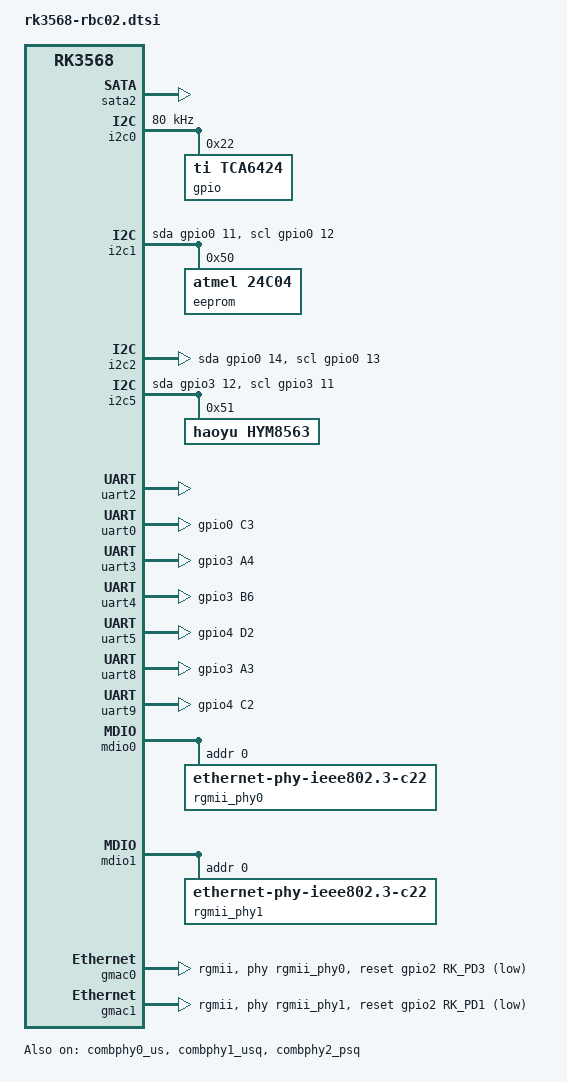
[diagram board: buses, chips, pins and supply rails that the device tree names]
// SPDX-License-Identifier: (GPL-2.0+ OR MIT)
/*
 * Copyright (c) 2020 Rockchip Electronics Co., Ltd.
 *
 */

/dts-v1/;

#include <dt-bindings/gpio/gpio.h>
#include <dt-bindings/pinctrl/rockchip.h>
#include "rk3568.dtsi"
#include "rk3568-evb.dtsi"


/ {
	aliases {
    	/delete-property/ dsi0;
		/delete-property/ dsi1;
		/delete-property/ serial0;
		/delete-property/ serial1;
		/delete-property/ serial2;
		/delete-property/ serial3;
		/delete-property/ serial4;
		/delete-property/ serial5;
		/delete-property/ serial6;
		/delete-property/ serial7;
		/delete-property/ serial8;
		/delete-property/ serial9;
		serial0 = &uart2;
		serial1 = &uart0;
		serial2 = &uart3;
		serial3 = &uart4;
		serial4 = &uart5;
		serial5 = &uart8;
		serial6 = &uart9;
	};
}; 


/delete-node/ &gt1x;
/delete-node/ &mxc6655xa;
/delete-node/ &wireless_wlan;
/delete-node/ &wireless_bluetooth;

/delete-node/ &lvds; 
/delete-node/ &rgb; 
/delete-node/ &hdmi_sound;
/delete-node/ &hdmi; 
/delete-node/ &edp;
/delete-node/ &display_subsystem;
/delete-node/ &vop;
/delete-node/ &dsi0;
/delete-node/ &dsi1;
/delete-node/ &backlight;
/delete-node/ &backlight1;


/delete-node/ &rk809_sound;
/delete-node/ &sdio_pwrseq;

/delete-node/ &hp_det;
/delete-node/ &mxc6655xa_irq_gpio;
/delete-node/ &touch_gpio;
/delete-node/ &wifi_enable_h;
/delete-node/ &uart8_gpios;


&pmu_io_domains {
    pmuio2-supply = <&vcc3v3_pmu>;
    vccio1-supply = <&vccio_acodec>;
    vccio3-supply = <&vccio_sd>;
    vccio4-supply = <&vcc_1v8>;
    vccio5-supply = <&vcc_3v3>;
    vccio6-supply = <&vcc_1v8>;
    vccio7-supply = <&vcc_3v3>;
};

&sata2 {
	status = "okay";
};


&i2c0 {
	status = "okay";
	clock-frequency = <80000>;
	gpio@22 {
		compatible = "ti,tca6424";
		reg = <0x22>;
		gpio-controller;
		#gpio-cells = <2>;
	};
};

&i2c1_xfer {
	rockchip,pins =
		/* i2c1_scl */
		<0 RK_PB3 RK_FUNC_GPIO &pcfg_pull_up_drv_level_15>,
		/* i2c1_sda */
		<0 RK_PB4 RK_FUNC_GPIO &pcfg_pull_up_drv_level_15>;
};
&i2c1 {
	status = "okay";
	compatible = "i2c-gpio";
	sda-gpios = <&gpio0 11 GPIO_ACTIVE_HIGH>;
	scl-gpios = <&gpio0 12 GPIO_ACTIVE_HIGH>;
	pinctrl-names = "default";
	pinctrl-0 = <&i2c1_xfer>;
	i2c-gpio,delay-us = <5>;	/* ~100 kHz */
	#address-cells = <1>;
	#size-cells = <0>;

	eeprom@50 {
		compatible = "atmel,24c04";
		reg = <0x50>;
		pagesize = <16>;
	};
};

&i2c2m0_xfer {
	rockchip,pins =
		/* i2c1_scl */
		<0 RK_PB5 RK_FUNC_GPIO &pcfg_pull_up_drv_level_15>,
		/* i2c1_sda */
		<0 RK_PB6 RK_FUNC_GPIO &pcfg_pull_up_drv_level_15>;
};
&i2c2 {
	status = "okay";
	compatible = "i2c-gpio";
	sda-gpios = <&gpio0 14 GPIO_ACTIVE_HIGH>;
	scl-gpios = <&gpio0 13 GPIO_ACTIVE_HIGH>;
	pinctrl-names = "default";
	pinctrl-0 = <&i2c2m0_xfer>;
	i2c-gpio,delay-us = <5>;	/* ~100 kHz */
	#address-cells = <1>;
	#size-cells = <0>;
};

&i2c5m0_xfer {
	rockchip,pins =
		/* i2c5_scl */
		<3 RK_PB3 RK_FUNC_GPIO &pcfg_pull_up_drv_level_15>,
		/* i2c5_sda */
		<3 RK_PB4 RK_FUNC_GPIO &pcfg_pull_up_drv_level_15>;
};

&i2c5 {
	status = "okay";
	compatible = "i2c-gpio";
	sda-gpios = <&gpio3 12 GPIO_ACTIVE_HIGH>;
	scl-gpios = <&gpio3 11 GPIO_ACTIVE_HIGH>;
	pinctrl-names = "default";
	pinctrl-0 = <&i2c5m0_xfer>;
	i2c-gpio,delay-us = <5>;	/* ~100 kHz */
	#address-cells = <1>;
	#size-cells = <0>;
	hym8563: hym8563@51 {
		compatible = "haoyu,hym8563";
		reg = <0x51>;
	};
};

&uart2 {
	status = "okay";
};

&pinctrl {
	rs485ctrl {
		com1_485_ctrl: com1_485_ctrl {
			rockchip,pins = <0 RK_PC3 RK_FUNC_GPIO &pcfg_pull_up>;
		};
		com2_485_ctrl: com2_485_ctrl {
			rockchip,pins = <3 RK_PA4 RK_FUNC_GPIO &pcfg_pull_up>;
		};
		com3_485_ctrl: com3_485_ctrl {
			rockchip,pins = <3 RK_PB6 RK_FUNC_GPIO &pcfg_pull_up>;
		};
		com4_485_ctrl: com4_485_ctrl {
			rockchip,pins = <4 RK_PD2 RK_FUNC_GPIO &pcfg_pull_up>;
		};
		com5_485_ctrl: com5_485_ctrl {
			rockchip,pins = <3 RK_PA3 RK_FUNC_GPIO &pcfg_pull_up>;
		};
		com6_485_ctrl: com6_485_ctrl {
			rockchip,pins = <4 RK_PC2 RK_FUNC_GPIO &pcfg_pull_up>;
		};
	};
};
&uart0 {
	status = "okay";
	dma-names = "tx","rx";
	pinctrl-0 = <&uart0_xfer &com1_485_ctrl>;
	rs485-term-gpios = <&gpio0 RK_PC3 GPIO_ACTIVE_HIGH>;
	rs485-rts-delay = <1 5>;
	rs485-rx-during-tx;
	linux,rs485-enabled-at-boot-time;
};

&uart3 {
	status = "okay";
	dma-names = "tx","rx";
	pinctrl-0 = <&uart3m1_xfer &com2_485_ctrl>;
	rs485-term-gpios = <&gpio3 RK_PA4 GPIO_ACTIVE_HIGH>;
	rs485-rts-delay = <1 5>;
	rs485-rx-during-tx;
	linux,rs485-enabled-at-boot-time;
};

&uart4 {
	status = "okay";
	dma-names = "tx","rx";
	pinctrl-0 = <&uart4m1_xfer &com3_485_ctrl>;
	rs485-term-gpios = <&gpio3 RK_PB6 GPIO_ACTIVE_HIGH>;
	rs485-rts-delay = <1 5>;
	rs485-rx-during-tx;
	linux,rs485-enabled-at-boot-time;
};

&uart5 {
	status = "okay";
	dma-names = "tx","rx";
	pinctrl-0 = <&uart5m1_xfer &com4_485_ctrl>;
	rs485-term-gpios = <&gpio4 RK_PD2 GPIO_ACTIVE_HIGH>;
	rs485-rts-delay = <1 5>;
	rs485-rx-during-tx;
	linux,rs485-enabled-at-boot-time;
};

&uart8 {
	status = "okay";
	dma-names = "tx","rx";
	pinctrl-0 = <&uart8m1_xfer &com5_485_ctrl>;
	rs485-term-gpios = <&gpio3 RK_PA3 GPIO_ACTIVE_HIGH>;
	rs485-rts-delay = <1 5>;
	rs485-rx-during-tx;
	linux,rs485-enabled-at-boot-time;
};

&uart9 {
	status = "okay";
	dma-names = "tx","rx";
	pinctrl-0 = <&uart9m1_xfer &com6_485_ctrl>;
	rs485-term-gpios = <&gpio4 RK_PC2 GPIO_ACTIVE_HIGH>;
	rs485-rts-delay = <1 5>;
	rs485-rx-during-tx;
	linux,rs485-enabled-at-boot-time;
};


&gpu {
	status = "disabled";
};
&nandc0 {
	status = "disabled";
};

&rkvdec {
	status = "disabled";
};

&rkvdec_mmu {
	status = "disabled";
};

&rkvenc {
	status = "disabled";
};

&rkvenc_mmu {
	status = "disabled";
};


&combphy0_us {
	status = "okay";
};

&combphy1_usq {
	status = "okay";
};

&combphy2_psq {
	status = "okay";
};

&mdio0 {
	rgmii_phy0: phy@0 {
		compatible = "ethernet-phy-ieee802.3-c22";
		reg = <0x0>;
	};
};

&mdio1 {
	rgmii_phy1: phy@0 {
		compatible = "ethernet-phy-ieee802.3-c22";
		reg = <0x0>;
	};
};

&gmac0 {
	phy-mode = "rgmii";
	clock_in_out = "output";

	snps,reset-gpio = <&gpio2 RK_PD3 GPIO_ACTIVE_LOW>;
	snps,reset-active-low;
	/* Reset time is 20ms, 100ms for rtl8211f */
	snps,reset-delays-us = <0 20000 100000>;

	assigned-clocks = <&cru SCLK_GMAC0_RX_TX>, <&cru SCLK_GMAC0>;
	assigned-clock-parents = <&cru SCLK_GMAC0_RGMII_SPEED>, <&cru CLK_MAC0_2TOP>;
	assigned-clock-rates = <0>, <125000000>;

	pinctrl-names = "default";
	pinctrl-0 = <&gmac0_miim
		     &gmac0_tx_bus2
		     &gmac0_rx_bus2
		     &gmac0_rgmii_clk
		     &gmac0_rgmii_bus>;

	tx_delay = <0xff>;
	rx_delay = <0xff>;

	phy-handle = <&rgmii_phy0>;
	status = "okay";
};

&gmac1 {
	phy-mode = "rgmii";
	clock_in_out = "output";

	snps,reset-gpio = <&gpio2 RK_PD1 GPIO_ACTIVE_LOW>;
	snps,reset-active-low;
	/* Reset time is 20ms, 100ms for rtl8211f */
	snps,reset-delays-us = <0 20000 100000>;

	assigned-clocks = <&cru SCLK_GMAC1_RX_TX>, <&cru SCLK_GMAC1>;
	assigned-clock-parents = <&cru SCLK_GMAC1_RGMII_SPEED>, <&cru CLK_MAC1_2TOP>;
	assigned-clock-rates = <0>, <125000000>;

	pinctrl-names = "default";
	pinctrl-0 = <&gmac1m1_miim
		     &gmac1m1_tx_bus2
		     &gmac1m1_rx_bus2
		     &gmac1m1_rgmii_clk
		     &gmac1m1_rgmii_bus>;

	tx_delay = <0x4f>;
	rx_delay = <0x26>;

	phy-handle = <&rgmii_phy1>;
	status = "okay";
};

